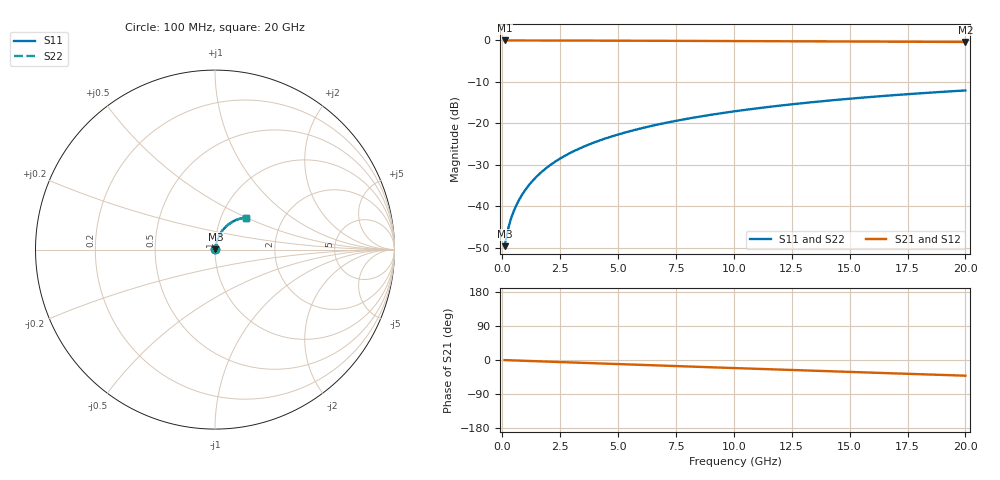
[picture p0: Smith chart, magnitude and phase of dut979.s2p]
! Touchstone file exported from HFSS 2026.1.0
!  File:  C:/ffzhzh/LocalFiles/Ansys_Project_Files/temp_train_BSMRDL_979_1783172723_18472.aedt
!  Generated:  09:46:32 PM Jul  4, 2026
!  Design:  BSMRDL
!  Project:  temp_train_BSMRDL_979_1783172723_18472
! Variables:
!  h_bsmrdl = 3.81um
!  h_ox = 20um
!  h_rdl = 5um
!  h_sub = 80um
!  h_tmrdl = 5um
!  h_tsv = 80um
!  h_via = 3um
!  l_bsmrdl = 675.93um
!  l_sub = 1075.93um
!  l_tmrdl = 200um
!  m_sub = 200um
!  pitch = 39.52um
!  r_tsv = 6um
!  s_tmrdl = 10um
!  w_bsmrdl = 25.24um
!  w_sub = 500um
!  w_tmrdl = 12um
!  x_tsv_center1 = 206um
!  x_tsv_center2 = 907.17um
!  x_tsv_center3 = 1119.17um
!  x_tsv_center4 = 1820.34um
!  x_tsv_center5 = 2032.34um
!  x_tsv_center6 = 2733.51um
# GHz S MA R 50.000000
! Terminal data exported
! Port[1] = BSM_RDL1_1_T1
! Port[2] = BSM_RDL1_1_T2
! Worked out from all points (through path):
!   200 points, 100 MHz to 20 GHz, reference 50 ohm
!   highest |S21| = -0.02 dB at 100 MHz (marker M1); lowest = -0.4 dB at 20 GHz (marker M2)
!   group delay of S21, straight-line fit = 5.74 ps
!   lowest |S11| = -49.6 dB at 100 MHz (marker M3), VSWR 1.01, Z = 50.3 + j0.184 ohm
!   |S11| at or under -10 dB: start of sweep to end of sweep
!   |S22| runs from -49.6 to -12.1 dB; largest |S21 - S12| = 2.7e-15
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0.1  0.003298 33.7  0.9973 -0.2  0.9973 -0.2  0.003298 33.7
! Gamma 0 0 0 0
! Port Impedance 50 0 50 0
0.2  0.00462 49.6  0.997 -0.5  0.997 -0.5  0.00462 49.6
0.3  0.006024 57.3  0.9968 -0.7  0.9968 -0.7  0.006026 57.3
0.4  0.00741 62.0  0.9966 -0.9  0.9966 -0.9  0.007414 62.0
0.5  0.008787 65.3  0.9965 -1.1  0.9965 -1.1  0.008792 65.3
0.6  0.01017 67.9  0.9964 -1.3  0.9964 -1.3  0.01017 67.8
0.8  0.01297 71.4  0.9962 -1.8  0.9962 -1.8  0.01297 71.4
1.1  0.01724 74.5  0.996 -2.4  0.996 -2.4  0.01725 74.5
1.3  0.02013 75.8  0.9959 -2.8  0.9959 -2.8  0.02013 75.7
1.6  0.02449 76.9  0.9957 -3.5  0.9957 -3.5  0.02449 76.8
2.1  0.03178 77.6  0.9952 -4.6  0.9952 -4.6  0.03178 77.6
2.7  0.04051 77.5  0.9946 -5.9  0.9946 -5.9  0.04051 77.5
3.5  0.05205 76.8  0.9935 -7.6  0.9935 -7.6  0.05205 76.7
4.2  0.06201 75.7  0.9925 -9.1  0.9925 -9.1  0.06201 75.7
5  0.07323 74.4  0.9911 -10.8  0.9911 -10.8  0.07323 74.3
5.9  0.08562 72.8  0.9895 -12.7  0.9895 -12.7  0.08562 72.7
6.8  0.09776 71.1  0.9878 -14.6  0.9878 -14.6  0.09777 71.0
8.3  0.1175 68.2  0.9847 -17.7  0.9847 -17.7  0.1175 68.1
10.1  0.1403 64.8  0.9807 -21.5  0.9807 -21.5  0.1403 64.7
13.4  0.1799 58.5  0.9729 -28.2  0.9729 -28.2  0.1799 58.3
16.7  0.2162 52.2  0.9645 -34.9  0.9645 -34.9  0.2162 52.0
20  0.2489 45.9  0.956 -41.4  0.956 -41.4  0.2489 45.7
